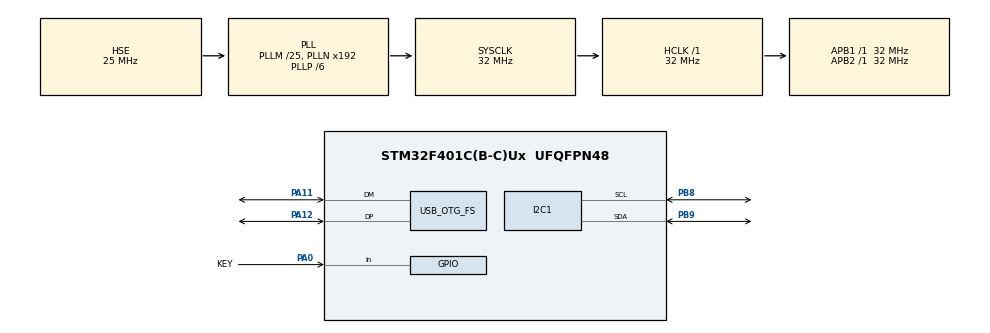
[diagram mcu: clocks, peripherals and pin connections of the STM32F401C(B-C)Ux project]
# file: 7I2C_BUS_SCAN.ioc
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Mcu.Family=STM32F4
Mcu.Name=STM32F401C(B-C)Ux
Mcu.Package=UFQFPN48
NVIC.OTG_FS_IRQn=true\:0\:0\:false\:false\:true\:false\:true
NVIC.PriorityGroup=NVIC_PRIORITYGROUP_4
PA0-WKUP.GPIO_Label=KEY
PA0-WKUP.GPIO_PuPd=GPIO_PULLUP
PA0-WKUP.Signal=GPIO_Input
PA11.Mode=Device_Only
PA11.Signal=USB_OTG_FS_DM
PA12.Mode=Device_Only
PA12.Signal=USB_OTG_FS_DP
PA13.Mode=Serial_Wire
PA13.Signal=SYS_JTMS-SWDIO
PA14.Mode=Serial_Wire
PA14.Signal=SYS_JTCK-SWCLK
PB8.Mode=I2C
PB8.Signal=I2C1_SCL
PB9.Mode=I2C
PB9.Signal=I2C1_SDA
PH0\ -\ OSC_IN.Mode=HSE-External-Oscillator
PH0\ -\ OSC_IN.Signal=RCC_OSC_IN
PH1\ -\ OSC_OUT.Mode=HSE-External-Oscillator
PH1\ -\ OSC_OUT.Signal=RCC_OSC_OUT
ProjectManager.HeapSize=0x200
ProjectManager.StackSize=0x400
ProjectManager.TargetToolchain=STM32CubeIDE
RCC.48MHZClocksFreq_Value=48000000
RCC.AHBFreq_Value=32000000
RCC.APB1Freq_Value=32000000
RCC.APB1TimFreq_Value=32000000
RCC.APB2Freq_Value=32000000
RCC.APB2TimFreq_Value=32000000
RCC.CortexFreq_Value=32000000
RCC.HCLKFreq_Value=32000000
RCC.HSE_VALUE=25000000
RCC.HSI_VALUE=16000000
RCC.LSE_VALUE=32768
RCC.PLLM=25
RCC.PLLP=RCC_PLLP_DIV6
RCC.SYSCLKFreq_VALUE=32000000
RCC.SYSCLKSource=RCC_SYSCLKSOURCE_PLLCLK
RCC.VCOOutputFreq_Value=192000000
USB_DEVICE.CLASS_NAME_FS=CDC
USB_DEVICE.VirtualMode=Cdc
USB_DEVICE.VirtualModeFS=Cdc_FS
USB_OTG_FS.VirtualMode=Device_Only
VP_USB_DEVICE_VS_USB_DEVICE_CDC_FS.Mode=CDC_FS
board=custom

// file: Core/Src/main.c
/* USER CODE BEGIN Header */
/**
  ******************************************************************************
  * @file           : main.c
  * @brief          : Main program body
  ******************************************************************************
  * @attention
  *
  * Copyright (c) 2022 STMicroelectronics.
  * All rights reserved.
  *
  * This software is licensed under terms that can be found in the LICENSE file
  * in the root directory of this software component.
  * If no LICENSE file comes with this software, it is provided AS-IS.
  *
  ******************************************************************************
  */
/* USER CODE END Header */
#include "main.h"
#include "usb_device.h"

/* USER CODE BEGIN PD */
#define KEY (!HAL_GPIO_ReadPin(KEY_GPIO_Port,KEY_Pin))
/* USER CODE END PD */

I2C_HandleTypeDef hi2c1;

/* USER CODE BEGIN PV */
uint8_t MSG[30]={'\0'};
uint8_t oldKey = 0;
/* USER CODE END PV */

void SystemClock_Config(void);
static void MX_GPIO_Init(void);
static void MX_I2C1_Init(void);

/* USER CODE BEGIN 0 */
void I2C_Scan(void)
{
    while(CDC_Transmit_FS("I2C-Scanning!\r\n",15)==USBD_OK){}
    __NOP();

    HAL_StatusTypeDef res;
    for(uint8_t i = 0; i < 128; i++) {
        res = HAL_I2C_IsDeviceReady(&hi2c1, i << 1, 1, 10);
        if(res == HAL_OK) {
            sprintf(MSG, "0x%02X\r\n", i);
            while(CDC_Transmit_FS(MSG,strlen(MSG))==USBD_OK){}
            __NOP();
            return;
        } else {
            while(CDC_Transmit_FS(".",1)==USBD_OK){}
            __NOP();
        }
    }
}

/* USER CODE END 0 */

int main(void)
{

  /* MCU Configuration--------------------------------------------------------*/

  /* Reset of all peripherals, Initializes the Flash interface and the Systick. */
  HAL_Init();

  /* Configure the system clock */
  SystemClock_Config();

  /* Initialize all configured peripherals */
  MX_GPIO_Init();
  MX_I2C1_Init();
  MX_USB_DEVICE_Init();

  /* Infinite loop */
  /* USER CODE BEGIN WHILE */
  while (1)
  {
    if((KEY != oldKey) && KEY){
    	__NOP();
    	I2C_Scan();
    }
    oldKey = KEY;
	  /* USER CODE END WHILE */

  }
}

void SystemClock_Config(void)
{
  RCC_OscInitTypeDef RCC_OscInitStruct = {0};
  RCC_ClkInitTypeDef RCC_ClkInitStruct = {0};

  /** Configure the main internal regulator output voltage
  */
  __HAL_RCC_PWR_CLK_ENABLE();
  __HAL_PWR_VOLTAGESCALING_CONFIG(PWR_REGULATOR_VOLTAGE_SCALE2);
  /** Initializes the RCC Oscillators according to the specified parameters
  * in the RCC_OscInitTypeDef structure.
  */
  RCC_OscInitStruct.OscillatorType = RCC_OSCILLATORTYPE_HSE;
  RCC_OscInitStruct.HSEState = RCC_HSE_ON;
  RCC_OscInitStruct.PLL.PLLState = RCC_PLL_ON;
  RCC_OscInitStruct.PLL.PLLSource = RCC_PLLSOURCE_HSE;
  RCC_OscInitStruct.PLL.PLLM = 25;
  RCC_OscInitStruct.PLL.PLLN = 192;
  RCC_OscInitStruct.PLL.PLLP = RCC_PLLP_DIV6;
  RCC_OscInitStruct.PLL.PLLQ = 4;
  if (HAL_RCC_OscConfig(&RCC_OscInitStruct) != HAL_OK)
  {
    Error_Handler();
  }
  /** Initializes the CPU, AHB and APB buses clocks
  */
  RCC_ClkInitStruct.ClockType = RCC_CLOCKTYPE_HCLK|RCC_CLOCKTYPE_SYSCLK
                              |RCC_CLOCKTYPE_PCLK1|RCC_CLOCKTYPE_PCLK2;
  RCC_ClkInitStruct.SYSCLKSource = RCC_SYSCLKSOURCE_PLLCLK;
  RCC_ClkInitStruct.AHBCLKDivider = RCC_SYSCLK_DIV1;
  RCC_ClkInitStruct.APB1CLKDivider = RCC_HCLK_DIV1;
  RCC_ClkInitStruct.APB2CLKDivider = RCC_HCLK_DIV1;

  if (HAL_RCC_ClockConfig(&RCC_ClkInitStruct, FLASH_LATENCY_1) != HAL_OK)
  {
    Error_Handler();
  }
}

static void MX_I2C1_Init(void)
{

  hi2c1.Instance = I2C1;
  hi2c1.Init.ClockSpeed = 100000;
  hi2c1.Init.DutyCycle = I2C_DUTYCYCLE_2;
  hi2c1.Init.OwnAddress1 = 0;
  hi2c1.Init.AddressingMode = I2C_ADDRESSINGMODE_7BIT;
  hi2c1.Init.DualAddressMode = I2C_DUALADDRESS_DISABLE;
  hi2c1.Init.OwnAddress2 = 0;
  hi2c1.Init.GeneralCallMode = I2C_GENERALCALL_DISABLE;
  hi2c1.Init.NoStretchMode = I2C_NOSTRETCH_DISABLE;
  if (HAL_I2C_Init(&hi2c1) != HAL_OK)
  {
    Error_Handler();
  }

}

static void MX_GPIO_Init(void)
{
  GPIO_InitTypeDef GPIO_InitStruct = {0};

  /* GPIO Ports Clock Enable */
  __HAL_RCC_GPIOH_CLK_ENABLE();
  __HAL_RCC_GPIOA_CLK_ENABLE();
  __HAL_RCC_GPIOB_CLK_ENABLE();

  /*Configure GPIO pin : KEY_Pin */
  GPIO_InitStruct.Pin = KEY_Pin;
  GPIO_InitStruct.Mode = GPIO_MODE_INPUT;
  GPIO_InitStruct.Pull = GPIO_PULLUP;
  HAL_GPIO_Init(KEY_GPIO_Port, &GPIO_InitStruct);

}

void Error_Handler(void)
{
  __disable_irq();
  while (1)
  {
  }
}
